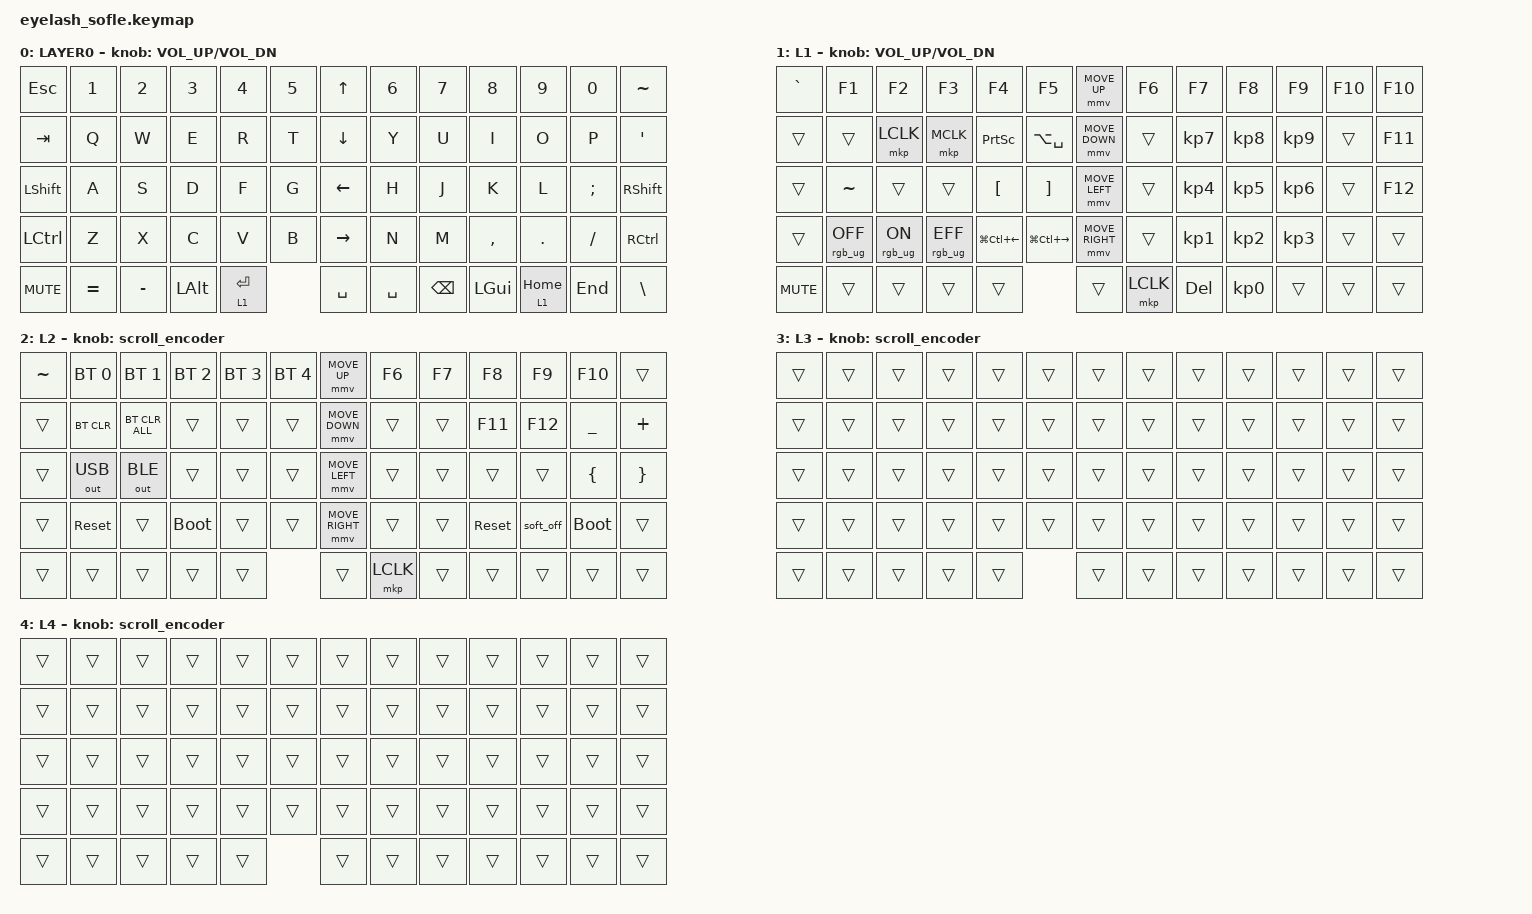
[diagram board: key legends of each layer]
#define ZMK_POINTING_DEFAULT_MOVE_VAL 1200  // 600
#define ZMK_POINTING_DEFAULT_SCRL_VAL 25   // 10

#include <input/processors.dtsi>
#include <zephyr/dt-bindings/input/input-event-codes.h>
#include <behaviors.dtsi>
#include <dt-bindings/zmk/bt.h>
#include <dt-bindings/zmk/keys.h>
#include <dt-bindings/zmk/outputs.h>
#include <dt-bindings/zmk/pointing.h>
#include <dt-bindings/zmk/rgb.h>

&mmv_input_listener { input-processors = <&zip_xy_scaler 2 1>; };

&msc_input_listener { input-processors = <&zip_scroll_scaler 2 1>; };

&msc {
    acceleration-exponent = <1>;      // 0
    time-to-max-speed-ms = <100>;       // 300
    delay-ms = <0>;                   // 0
};

&mmv {
    time-to-max-speed-ms = <500>;
    acceleration-exponent = <1>;
    trigger-period-ms = <16>;
};

&soft_off { hold-time-ms = <2000>; };

/ {
    scroll_encoder: scroll_encoder {
        compatible = "zmk,behavior-sensor-rotate";
        #sensor-binding-cells = <0>;
        bindings = <&msc SCRL_DOWN>, <&msc SCRL_UP>;

        tap-ms = <100>;
    };

    behaviors {
    };

    combos {
        compatible = "zmk,combos";

        softoff {
            bindings = <&soft_off>;
            key-positions = <14 28 40>;
        };
    };

    keymap {
        compatible = "zmk,keymap";

        layer0 {
            bindings = <
&kp ESC     &kp N1     &kp N2        &kp N3        &kp N4  &kp N5       &kp UP_ARROW     &kp N6     &kp N7     &kp N8     &kp N9           &kp N0      &kp TILDE
&kp TAB     &kp Q      &kp W         &kp E         &kp R   &kp T        &kp DOWN_ARROW   &kp Y      &kp U      &kp I      &kp O            &kp P       &kp APOS
&kp LSHFT   &kp A      &kp S         &kp D         &kp F   &kp G        &kp LEFT_ARROW   &kp H      &kp J      &kp K      &kp L            &kp SEMI    &kp RSHFT
&kp LCTRL   &kp Z      &kp X         &kp C         &kp V   &kp B        &kp RIGHT_ARROW  &kp N      &kp M      &kp COMMA  &kp DOT          &kp FSLH    &kp RCTRL
&kp C_MUTE  &kp EQUAL  &kp MINUS     &kp LALT      &lt 1 RET            &kp SPACE        &kp SPACE  &kp BSPC   &kp LGUI   &lt 1 HOME       &kp END     &kp BSLH
            >;

            sensor-bindings = <&inc_dec_kp C_VOLUME_UP C_VOL_DN>;
            display-name = "LAYER0";
        };

        layer_1 {
            bindings = <
&kp GRAVE   &kp F1           &kp F2          &kp F3           &kp F4           &kp F5             &mmv MOVE_UP     &kp F6        &kp F7           &kp F8      &kp F9     &kp F10   &kp F10
&trans      &trans           &mkp LCLK       &mkp MCLK        &kp PSCRN        &kp LA(SPACE)      &mmv MOVE_DOWN   &trans        &kp KP_N7        &kp KP_N8   &kp KP_N9  &trans    &kp F11
&trans      &kp TILDE        &trans          &trans           &kp LBKT         &kp RBKT           &mmv MOVE_LEFT   &trans        &kp KP_N4        &kp KP_N5   &kp KP_N6  &trans    &kp F12
&trans      &rgb_ug RGB_OFF  &rgb_ug RGB_ON  &rgb_ug RGB_EFF  &kp LG(LC(LEFT)) &kp LG(LC(RIGHT))  &mmv MOVE_RIGHT  &trans        &kp KP_N1        &kp KP_N2   &kp KP_N3  &trans    &trans
&kp C_MUTE  &trans           &trans          &trans           &trans           &trans             &mkp LCLK        &kp DELETE    &kp KP_N0        &trans      &trans     &trans
            >;

            display-name = "L1";
            sensor-bindings = <&inc_dec_kp C_VOLUME_UP C_VOL_DN>;
        };

        layer_2 {
            bindings = <
&kp TILDE  &bt BT_SEL 0  &bt BT_SEL 1    &bt BT_SEL 2  &bt BT_SEL 3  &bt BT_SEL 4    &mmv MOVE_UP     &kp F6  &kp F7  &kp F8      &kp F9     &kp F10      &trans
&trans     &bt BT_CLR    &bt BT_CLR_ALL  &trans        &trans        &trans          &mmv MOVE_DOWN   &trans  &trans  &kp F11     &kp F12    &kp UNDER    &kp PLUS
&trans     &out OUT_USB  &out OUT_BLE    &trans        &trans        &trans          &mmv MOVE_LEFT   &trans  &trans  &trans      &trans     &kp LBRC     &kp RBRC
&trans     &sys_reset    &trans          &bootloader   &trans        &trans          &mmv MOVE_RIGHT  &trans  &trans  &sys_reset  &soft_off  &bootloader  &trans
&trans     &trans        &trans          &trans        &trans        &trans          &mkp LCLK        &trans  &trans  &trans      &trans     &trans
            >;

            display-name = "L2";
            sensor-bindings = <&scroll_encoder>;
        };

        layer_3 {
            bindings = <
&trans  &trans  &trans  &trans  &trans  &trans    &trans  &trans  &trans  &trans  &trans  &trans  &trans
&trans  &trans  &trans  &trans  &trans  &trans    &trans  &trans  &trans  &trans  &trans  &trans  &trans
&trans  &trans  &trans  &trans  &trans  &trans    &trans  &trans  &trans  &trans  &trans  &trans  &trans
&trans  &trans  &trans  &trans  &trans  &trans    &trans  &trans  &trans  &trans  &trans  &trans  &trans
&trans  &trans  &trans  &trans  &trans  &trans    &trans  &trans  &trans  &trans  &trans  &trans
            >;

            display-name = "L3";
            sensor-bindings = <&scroll_encoder>;
        };

        layer_4 {
            bindings = <
&trans  &trans  &trans  &trans  &trans  &trans    &trans  &trans  &trans  &trans  &trans  &trans  &trans
&trans  &trans  &trans  &trans  &trans  &trans    &trans  &trans  &trans  &trans  &trans  &trans  &trans
&trans  &trans  &trans  &trans  &trans  &trans    &trans  &trans  &trans  &trans  &trans  &trans  &trans
&trans  &trans  &trans  &trans  &trans  &trans    &trans  &trans  &trans  &trans  &trans  &trans  &trans
&trans  &trans  &trans  &trans  &trans  &trans    &trans  &trans  &trans  &trans  &trans  &trans
            >;

            display-name = "L4";
            sensor-bindings = <&scroll_encoder>;
        };
    };
};
